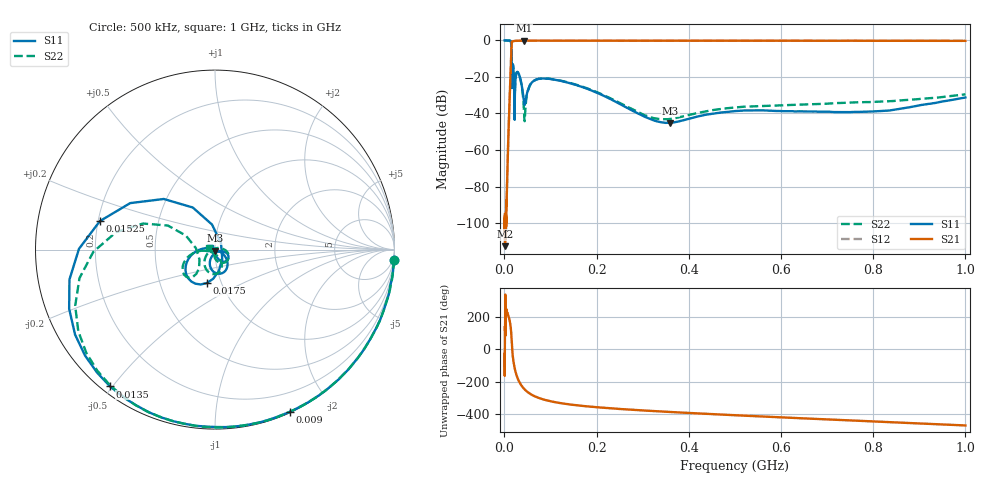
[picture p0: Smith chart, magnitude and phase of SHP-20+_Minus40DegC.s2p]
! Mini-Circuits
! S2P DATA File Format
! Type: HIGH PASS FILTER
! Model: SHP-20+
! All S Parameters are in dB deg format
! TEST CONDITIONS: INPUT POWER = 0 dBm @ Temperature = -40deg C
! 401 Frequency points
# MHz S DB R 50
!  FREQ  MAG(S11)  PHS(S11)  MAG(S12)  PHS(S12)  MAG(S21)  PHS(S21)  MAG(S22)  PHS(S22)
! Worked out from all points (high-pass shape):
!   401 points, 500 kHz to 1 GHz, reference 50 ohm
!   highest |S21| = -0.09 dB at 42 MHz (marker M1); lowest = -112.7 dB at 1.5 MHz (marker M2)
!   |S21| within 3 dB of the highest: 15.41 MHz to end of sweep
!   lowest |S11| = -45.2 dB at 360 MHz (marker M3), VSWR 1.01, Z = 49.9 - j0.544 ohm
!   |S11| at or under -10 dB: 15.89 MHz to end of sweep
!   |S22| runs from -44.2 to 0.0 dB; largest |S21 - S12| = 0.0045
!   S11 on the Smith chart (normalised r, x): 500 kHz: 0, -35; 9 MHz: 0.01, -1.56; 13.5 MHz: 0.03, -0.49; 15.25 MHz: 0.21, +0.12; 17.5 MHz: 0.85, -0.33; 1 GHz: 0.95, +0.01
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0.5  0.00 -3.3  -97.78 -29.0  -100.46 154.1  0.00 -3.3
1.5  -0.01 -9.8  -112.67 110.9  -100.42 -105.2  0.00 -9.7
5.5  -0.01 -37.0  -80.45 -132.1  -81.23 -132.7  -0.01 -36.8
9  -0.04 -65.3  -49.93 -158.3  -49.89 -157.7  -0.04 -64.5
13.5  -0.35 -127.5  -16.57 140.8  -16.53 140.7  -0.31 -122.4
15.25  -3.60 166.1  -3.89 76.9  -3.86 76.6  -3.38 -179.0
16.5  -26.10 47.7  -0.57 10.6  -0.57 10.4  -19.43 175.6
17.5  -14.34 -103.7  -0.53 -25.0  -0.54 -25.2  -14.16 -129.1
20  -16.99 -165.1  -0.35 -81.1  -0.34 -81.2  -16.97 -167.6
22.25  -43.46 5.0  -0.20 -116.6  -0.20 -116.7  -33.08 -102.8
26.25  -17.85 -61.1  -0.22 -160.1  -0.22 -160.2  -17.83 -80.1
42  -32.60 -99.6  -0.09 117.8  -0.10 117.8  -36.10 -179.1
44  -35.28 -63.3  -0.09 111.8  -0.09 111.7  -44.23 95.5
50  -27.98 -12.9  -0.09 96.6  -0.09 96.5  -28.42 10.8
70  -21.34 -28.2  -0.11 64.5  -0.11 64.5  -21.32 -27.3
170  -25.61 -71.8  -0.10 10.4  -0.10 10.4  -25.37 -86.5
335  -44.54 -104.3  -0.10 -23.1  -0.11 -23.1  -43.00 -133.1
360  -45.19 -98.0  -0.11 -27.0  -0.11 -27.0  -42.97 -144.9
505  -38.63 -94.5  -0.13 -47.5  -0.14 -47.5  -36.62 -169.6
670  -38.96 -103.3  -0.14 -68.9  -0.15 -68.9  -34.91 163.0
835  -38.38 -145.0  -0.18 -89.2  -0.15 -89.3  -33.24 154.2
1000  -31.25 165.6  -0.22 -109.8  -0.22 -109.6  -29.51 160.3
